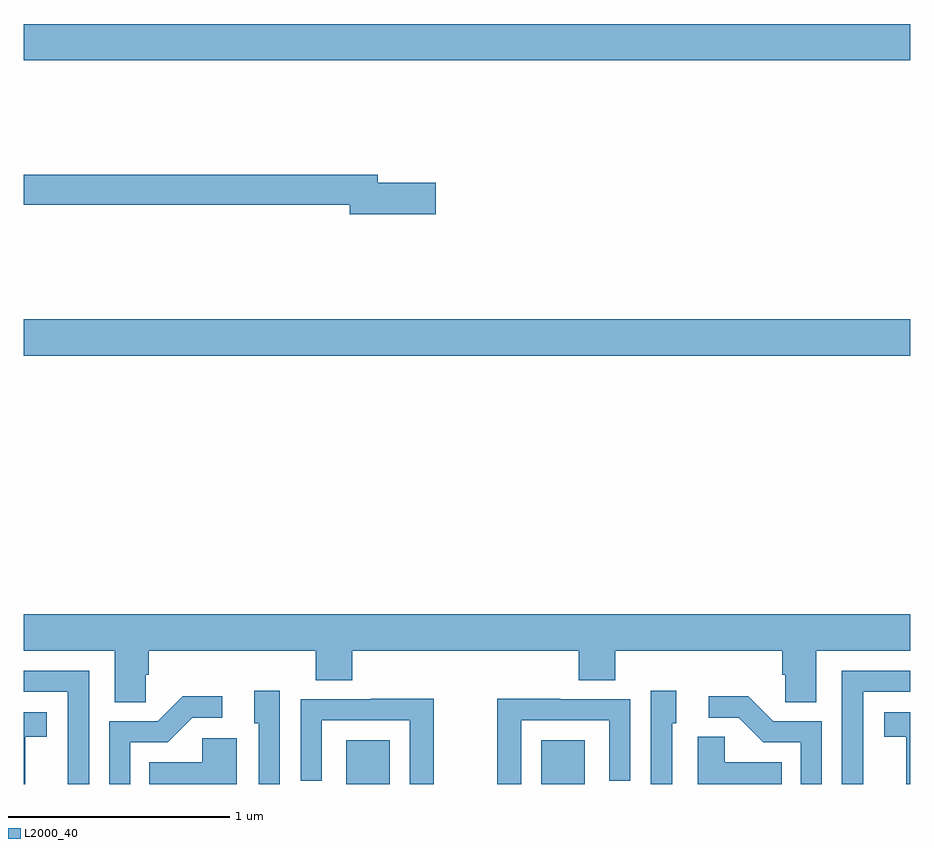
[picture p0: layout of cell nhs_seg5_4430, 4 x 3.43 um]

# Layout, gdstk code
import gdstk
lib = gdstk.Library(unit=1e-6, precision=1e-09)
def R(c, l, rs):  # rectangles x0, y0, x1, y1
    for r in rs: c.add(gdstk.rectangle(r[:2], r[2:], *l))
def P(c, l, *ps):  # polygons
    for p in ps: c.add(gdstk.Polygon(p, *l))
L2000_40 = (2000, 40)

nhs_seg5_4430 = lib.new_cell('nhs_seg5_4430')
R(nhs_seg5_4430, L2000_40, [(372.455,882.799,372.652,882.997), (373.334,882.799,373.531,882.997), (371,884.732,375,884.896), (371,886.064,375,886.228)])
P(nhs_seg5_4430, L2000_40, [(372.859,885.512),(372.598,885.512),(372.598,885.548),(371,885.548),(371,885.412),(372.47,885.412),(372.47,885.37),(372.859,885.37)],
  [(371.55,883.291),(371.564,883.291),(371.564,883.4),(372.317,883.4),(372.317,883.267),(372.482,883.267),(372.482,883.4),(373.505,883.4),(373.505,883.267),(373.67,883.267),(373.67,883.4),(374.423,883.4),(374.423,883.291),(374.436,883.291),(374.436,883.168),(374.575,883.168),(374.575,883.4),(375,883.4),(375,883.564),(371,883.564),(371,883.4),(371.411,883.4),(371.411,883.168),(371.55,883.168)],
  [(371.295,883.311),(371,883.311),(371,883.215),(371.199,883.215),(371.199,882.799),(371.295,882.799)],
  [(374.787,883.215),(375,883.215),(375,883.311),(374.691,883.311),(374.691,882.799),(374.787,882.799)],
  [(372.156,883.219),(372.041,883.219),(372.041,883.074),(372.06,883.074),(372.06,882.799),(372.156,882.799)],
  [(373.926,883.074),(373.945,883.074),(373.945,883.219),(373.83,883.219),(373.83,882.799),(373.926,882.799)],
  [(374.601,883.083),(374.382,883.083),(374.269,883.196),(374.091,883.196),(374.091,883.098),(374.225,883.098),(374.336,882.987),(374.505,882.987),(374.505,882.799),(374.601,882.799)],
  [(371.481,882.987),(371.65,882.987),(371.761,883.098),(371.896,883.098),(371.896,883.196),(371.717,883.196),(371.604,883.083),(371.385,883.083),(371.385,882.799),(371.481,882.799)],
  [(373.245,883.086),(373.641,883.086),(373.641,882.813),(373.737,882.813),(373.737,883.182),(373.421,883.182),(373.421,883.184),(373.137,883.184),(373.137,882.799),(373.245,882.799)],
  [(372.85,883.184),(372.565,883.184),(372.565,883.182),(372.249,883.182),(372.249,882.813),(372.345,882.813),(372.345,883.086),(372.741,883.086),(372.741,882.799),(372.85,882.799)],
  [(375,883.123),(374.883,883.123),(374.883,883.013),(374.981,883.013),(374.981,882.799),(375,882.799)],
  [(371.006,883.013),(371.104,883.013),(371.104,883.123),(371,883.123),(371,882.799),(371.006,882.799)],
  [(374.42,882.898),(374.163,882.898),(374.163,883.013),(374.042,883.013),(374.042,882.799),(374.42,882.799)],
  [(371.962,883.006),(371.805,883.006),(371.805,882.898),(371.566,882.898),(371.566,882.799),(371.962,882.799)])

lib.write_gds('nhs_seg5_4430.gds')
